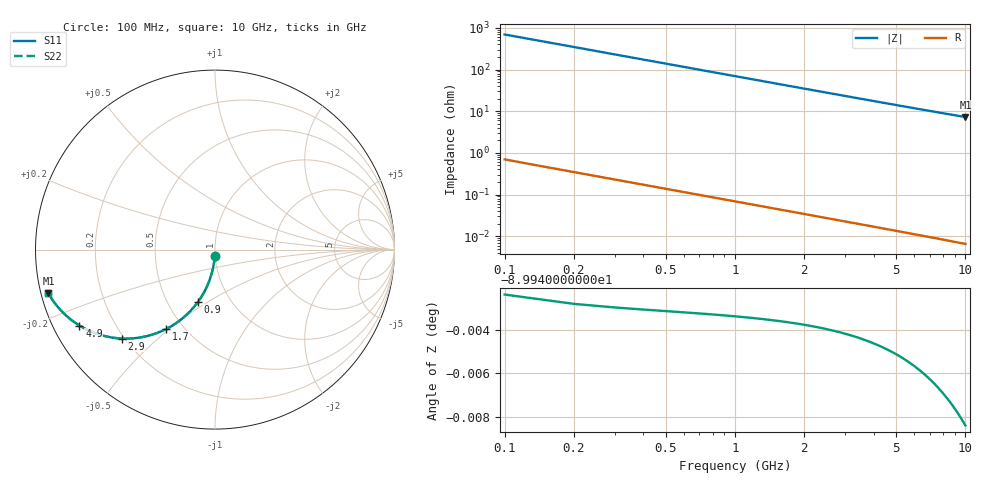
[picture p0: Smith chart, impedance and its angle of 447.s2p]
# Hz S RI R 50.00
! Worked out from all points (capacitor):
!   100 points, 100 MHz to 10 GHz, reference 50 ohm
!   read as one part in shunt: C = 2.29 pF near 100 MHz
!   lowest |Z| = 7.27 ohm at 10 GHz (marker M1)
!   S11 on the Smith chart (normalised r, x): 100 MHz: 0.99, -0.07; 900 MHz: 0.71, -0.45; 1.7 GHz: 0.40, -0.49; 2.9 GHz: 0.19, -0.39; 4.9 GHz: 0.08, -0.26; 10 GHz: 0.02, -0.13
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1e8  -0.00131 -0.0358  0.9986 -0.0361  0.9986 -0.0361  -0.00131 -0.0358
2e8  -0.00521 -0.0714  0.9947 -0.0719  0.9947 -0.0719  -0.00521 -0.0714
3e8  -0.0116 -0.1064  0.9883 -0.1072  0.9883 -0.1072  -0.0116 -0.1064
4e8  -0.0204 -0.1406  0.9795 -0.1416  0.9795 -0.1416  -0.0204 -0.1406
5e8  -0.0315 -0.1737  0.9684 -0.175  0.9684 -0.175  -0.0315 -0.1737
6e8  -0.0447 -0.2055  0.9552 -0.2071  0.9552 -0.2071  -0.0447 -0.2055
7e8  -0.0599 -0.2359  0.9401 -0.2377  0.9401 -0.2377  -0.0599 -0.2359
9e8  -0.0952 -0.2918  0.9048 -0.2942  0.9048 -0.2942  -0.0952 -0.2918
1.1e9  -0.1357 -0.3406  0.8643 -0.3434  0.8643 -0.3434  -0.1357 -0.3406
1.3e9  -0.1797 -0.3818  0.8203 -0.3851  0.8203 -0.3851  -0.1797 -0.3818
1.7e9  -0.2722 -0.4424  0.7277 -0.4468  0.7277 -0.4468  -0.2722 -0.4424
1.8e9  -0.2954 -0.4534  0.7046 -0.458  0.7046 -0.458  -0.2954 -0.4534
2.3e9  -0.4059 -0.4876  0.594 -0.4936  0.594 -0.4936  -0.4059 -0.4876
2.9e9  -0.5203 -0.4953  0.4797 -0.5029  0.4797 -0.5029  -0.5203 -0.4953
3.4e9  -0.5982 -0.4853  0.4017 -0.4942  0.4017 -0.4942  -0.5982 -0.4853
4.1e9  -0.6838 -0.4591  0.3161 -0.4698  0.3161 -0.4698  -0.6838 -0.4591
4.9e9  -0.7552 -0.4229  0.2446 -0.4359  0.2446 -0.4359  -0.7552 -0.4229
5.1e9  -0.7697 -0.4137  0.2302 -0.4272  0.2302 -0.4272  -0.7697 -0.4137
5.9e9  -0.8172 -0.3781  0.1826 -0.3937  0.1826 -0.3937  -0.8172 -0.3781
6.7e9  -0.8523 -0.3453  0.1475 -0.3632  0.1475 -0.3632  -0.8523 -0.3453
8.4e9  -0.9009 -0.2868  0.0988 -0.3094  0.0988 -0.3094  -0.9009 -0.2868
1e10  -0.9282 -0.2436  0.0714 -0.2709  0.0714 -0.2709  -0.9282 -0.2436
